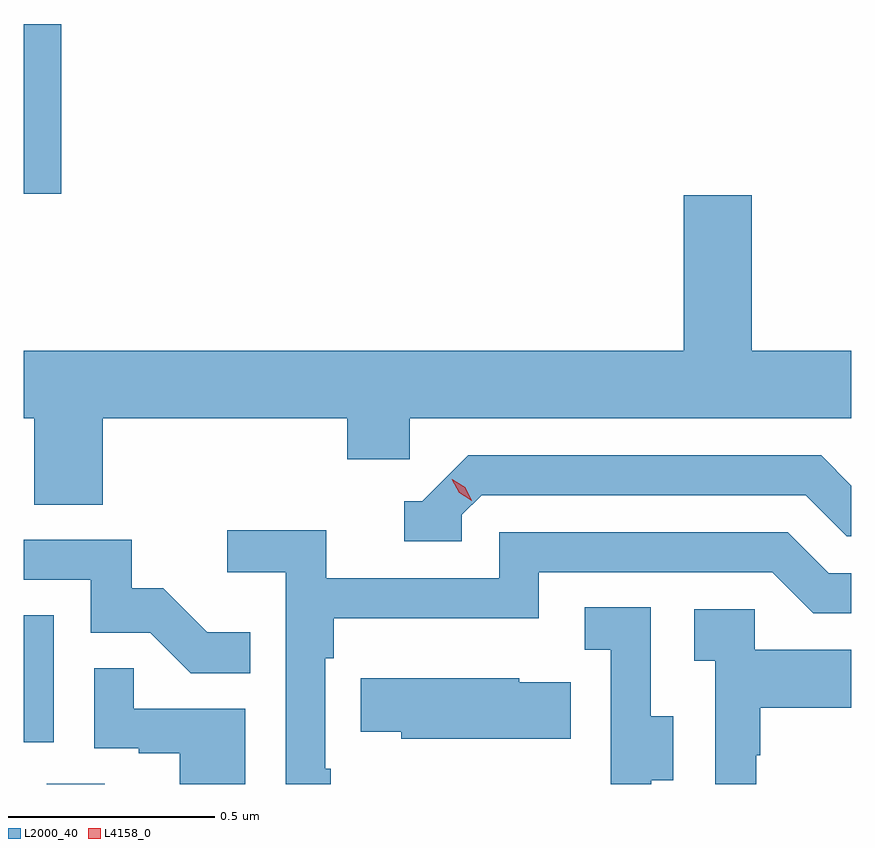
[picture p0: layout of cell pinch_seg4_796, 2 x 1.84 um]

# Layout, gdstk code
import gdstk
lib = gdstk.Library(unit=1e-6, precision=1e-09)
def R(c, l, rs):  # rectangles x0, y0, x1, y1
    for r in rs: c.add(gdstk.rectangle(r[:2], r[2:], *l))
def P(c, l, *ps):  # polygons
    for p in ps: c.add(gdstk.Polygon(p, *l))
L2000_40 = (2000, 40)
L4158_0 = (4158, 0)

pinch_seg4_796 = lib.new_cell('pinch_seg4_796')
R(pinch_seg4_796, L2000_40, [(810.821,814.585,810.961,814.586), (810.765,814.686,810.838,814.993), (810.765,816.011,810.856,816.421)])
P(pinch_seg4_796, L2000_40, [(810.956,815.468),(811.547,815.468),(811.547,815.37),(811.698,815.37),(811.698,815.468),(812.765,815.468),(812.765,815.632),(812.524,815.632),(812.524,816.007),(812.36,816.007),(812.36,815.632),(810.765,815.632),(810.765,815.468),(810.791,815.468),(810.791,815.26),(810.956,815.26)],
  [(811.824,815.235),(811.872,815.283),(812.655,815.283),(812.754,815.184),(812.765,815.184),(812.765,815.306),(812.692,815.379),(811.839,815.379),(811.728,815.268),(811.685,815.268),(811.685,815.172),(811.824,815.172)],
  [(811.507,814.622),(811.494,814.622),(811.494,814.889),(811.514,814.889),(811.514,814.985),(812.01,814.985),(812.01,815.097),(812.574,815.097),(812.673,814.998),(812.765,814.998),(812.765,815.094),(812.71,815.094),(812.611,815.193),(811.914,815.193),(811.914,815.082),(811.496,815.082),(811.496,815.198),(811.257,815.198),(811.257,815.096),(811.398,815.096),(811.398,814.585),(811.507,814.585)],
  [(811.313,814.951),(811.209,814.951),(811.102,815.058),(811.026,815.058),(811.026,815.175),(810.765,815.175),(810.765,815.079),(810.927,815.079),(810.927,814.95),(811.071,814.95),(811.169,814.852),(811.313,814.852)],
  [(812.281,814.594),(812.335,814.594),(812.335,814.749),(812.28,814.749),(812.28,815.012),(812.121,815.012),(812.121,814.909),(812.184,814.909),(812.184,814.605),(812.183,814.605),(812.183,814.585),(812.281,814.585)],
  [(812.535,814.655),(812.545,814.655),(812.545,814.769),(812.765,814.769),(812.765,814.909),(812.532,814.909),(812.532,815.007),(812.385,815.007),(812.385,814.883),(812.436,814.883),(812.436,814.585),(812.535,814.585)],
  [(811.3,814.767),(811.031,814.767),(811.031,814.865),(810.936,814.865),(810.936,814.671),(811.043,814.671),(811.043,814.659),(811.142,814.659),(811.142,814.585),(811.3,814.585)],
  [(812.087,814.831),(811.962,814.831),(811.962,814.84),(811.579,814.84),(811.579,814.711),(811.677,814.711),(811.677,814.694),(812.087,814.694)])
P(pinch_seg4_796, L4158_0, [(811.848,815.269),(811.817,815.288),(811.8,815.321),(811.8,815.321),(811.801,815.321),(811.832,815.302),(811.848,815.269),(811.848,815.269)])

lib.write_gds('pinch_seg4_796.gds')
